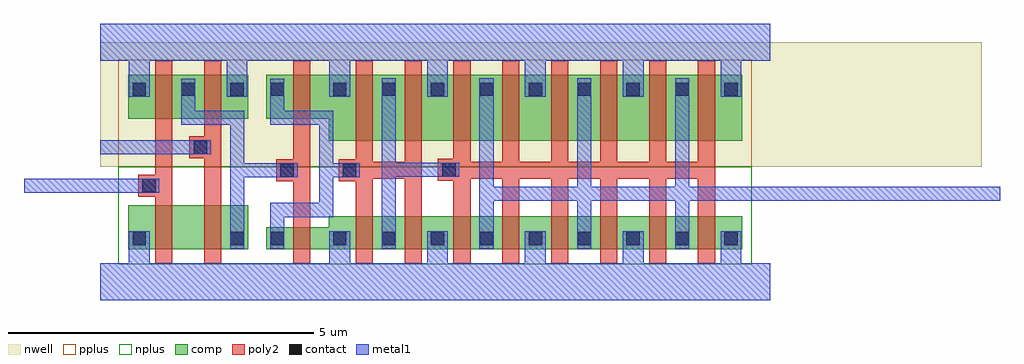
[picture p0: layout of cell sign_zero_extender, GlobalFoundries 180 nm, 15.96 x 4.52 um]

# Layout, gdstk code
import gdstk
lib = gdstk.Library(unit=1e-6, precision=5e-09)
def R(c, l, rs):  # rectangles x0, y0, x1, y1
    for r in rs: c.add(gdstk.rectangle(r[:2], r[2:], *l))
def A(c, l, x, y, w, h, nx, ny, dx, dy):  # array of equal rectangles
    R(c, l, [(x+i*dx, y+j*dy, x+i*dx+w, y+j*dy+h) for i in range(nx) for j in range(ny)])
nwell = (21, 0)
comp = (22, 0)
poly2 = (30, 0)
pplus = (31, 0)
nplus = (32, 0)
contact = (33, 0)
metal1 = (34, 0)

sign_zero_extender = lib.new_cell('sign_zero_extender')
R(sign_zero_extender, nwell, [(27.94,-6.48,42.36,-4.44)])
R(sign_zero_extender, comp, [(28.4,-7.83,30.36,-7.11), (30.66,-7.83,31.82,-7.47), (31.68,-7.83,38.44,-7.29), (31.68,-6.05,38.44,-4.97), (28.4,-5.69,30.36,-4.97), (30.66,-5.69,31.82,-4.97)])
A(sign_zero_extender, poly2, 34, -6.675, 0.52, 0.28, 5, 1, 0.8, 0)
R(sign_zero_extender, poly2, [(28.84,-8.06,29.12,-4.74), (28.84,-8.06,29.12,-4.74), (29.64,-8.06,29.92,-4.74), (31.1,-8.06,31.38,-4.74), (31.1,-8.06,31.38,-4.74), (32.12,-8.06,32.4,-4.74), (32.12,-8.06,32.4,-4.74), (32.92,-8.06,33.2,-4.74), (32.92,-8.06,33.2,-4.74), (33.72,-8.06,34,-4.74), (33.72,-8.06,34,-4.74), (34.52,-8.06,34.8,-4.74), (34.52,-8.06,34.8,-4.74), (35.32,-8.06,35.6,-4.74), (35.32,-8.06,35.6,-4.74), (36.12,-8.06,36.4,-4.74), (36.12,-8.06,36.4,-4.74), (36.92,-8.06,37.2,-4.74), (36.92,-8.06,37.2,-4.74), (37.72,-8.06,38,-4.74), (37.72,-8.06,38,-4.74), (28.56,-6.965,28.92,-6.605), (28.56,-6.965,28.92,-6.605), (30.82,-6.715,31.18,-6.355), (30.82,-6.715,31.18,-6.355), (31.84,-6.715,32.2,-6.355), (31.84,-6.715,32.2,-6.355), (33.465,-6.71,33.825,-6.35), (33.465,-6.71,33.825,-6.35), (32.4,-6.675,32.92,-6.395), (29.4,-6.34,29.76,-5.98)])
R(sign_zero_extender, pplus, [(28.24,-6.48,38.6,-4.73)])
R(sign_zero_extender, nplus, [(28.24,-8.07,38.6,-6.48)])
A(sign_zero_extender, contact, 31.75, -7.76, 0.22, 0.22, 3, 2, 0.8, 2.44)
A(sign_zero_extender, contact, 33.35, -7.76, 0.22, 0.22, 3, 2, 0.8, 2.44)
A(sign_zero_extender, contact, 34.95, -7.76, 0.22, 0.22, 3, 2, 0.8, 2.44)
A(sign_zero_extender, contact, 36.55, -7.76, 0.22, 0.22, 3, 2, 0.8, 2.44)
R(sign_zero_extender, contact, [(28.47,-7.76,28.69,-7.54), (28.47,-7.76,28.69,-7.54), (30.07,-7.76,30.29,-7.54), (30.73,-7.76,30.95,-7.54), (31.75,-7.76,31.97,-7.54), (38.15,-7.76,38.37,-7.54), (28.63,-6.895,28.85,-6.675), (28.63,-6.895,28.85,-6.675), (30.89,-6.645,31.11,-6.425), (30.89,-6.645,31.11,-6.425), (31.91,-6.645,32.13,-6.425), (31.91,-6.645,32.13,-6.425), (33.535,-6.64,33.755,-6.42), (33.535,-6.64,33.755,-6.42), (29.47,-6.27,29.69,-6.05), (29.47,-6.27,29.69,-6.05), (28.47,-5.32,28.69,-5.1), (28.47,-5.32,28.69,-5.1), (29.27,-5.32,29.49,-5.1), (29.27,-5.32,29.49,-5.1), (30.07,-5.32,30.29,-5.1), (30.07,-5.32,30.29,-5.1), (30.73,-5.32,30.95,-5.1), (31.75,-5.32,31.97,-5.1), (38.15,-5.32,38.37,-5.1)])
A(sign_zero_extender, metal1, 32.545, -7.82, 0.23, 2.79, 4, 1, 1.6, 0)
R(sign_zero_extender, metal1, [(27.94,-8.66,38.9,-8.06), (28.41,-8.06,28.75,-7.53), (28.41,-8.06,28.75,-7.53), (31.69,-8.06,32.03,-7.53), (31.69,-8.06,32.03,-7.53), (33.29,-8.06,33.63,-7.53), (33.29,-8.06,33.63,-7.53), (34.89,-8.06,35.23,-7.53), (34.89,-8.06,35.23,-7.53), (36.49,-8.06,36.83,-7.53), (36.49,-8.06,36.83,-7.53), (38.09,-8.06,38.43,-7.53), (38.09,-8.06,38.43,-7.53), (30.065,-7.82,30.295,-5.56), (30.725,-7.82,30.955,-7.07), (30.955,-7.3,31.525,-7.07), (31.525,-7.3,31.755,-5.56), (34.375,-7.035,42.66,-6.805), (26.695,-6.9,28.91,-6.67), (30.295,-6.65,31.17,-6.42), (31.755,-6.65,32.19,-6.42), (32.775,-6.645,33.815,-6.415), (27.94,-6.275,29.75,-6.045), (29.265,-5.79,29.495,-5.04), (29.265,-5.79,29.495,-5.04), (29.495,-5.79,30.065,-5.56), (30.725,-5.79,30.955,-5.04), (30.955,-5.79,31.525,-5.56), (28.41,-5.33,28.75,-4.74), (28.41,-5.33,28.75,-4.74), (30.01,-5.33,30.35,-4.74), (30.01,-5.33,30.35,-4.74), (31.69,-5.33,32.03,-4.74), (31.69,-5.33,32.03,-4.74), (33.29,-5.33,33.63,-4.74), (33.29,-5.33,33.63,-4.74), (34.89,-5.33,35.23,-4.74), (34.89,-5.33,35.23,-4.74), (36.49,-5.33,36.83,-4.74), (36.49,-5.33,36.83,-4.74), (38.09,-5.33,38.43,-4.74), (38.09,-5.33,38.43,-4.74), (27.94,-4.74,38.9,-4.14)])

lib.write_gds('sign_zero_extender.gds')
